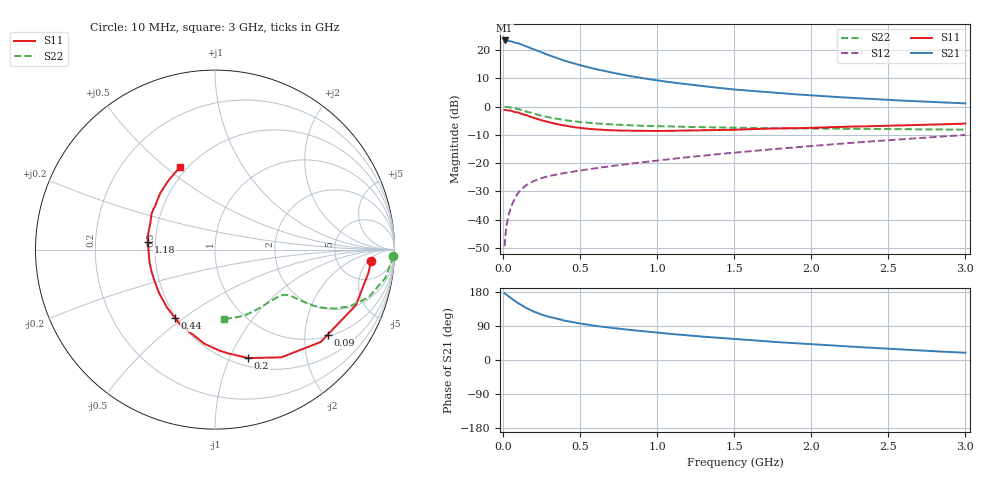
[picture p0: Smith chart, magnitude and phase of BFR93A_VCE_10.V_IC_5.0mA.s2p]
! Infineon Technologies  Discrete & RF Semiconductors
! BFR93A
! VCE =  10. V,  IC =  5.0 mA
! Common Emitter S-Parameters:  Nov 2015
# GHz  S  MA  R  50
!  f  S11  S21  S12  S22
! GHz  MAG  ANG  MAG  ANG  MAG  ANG  MAG  ANG
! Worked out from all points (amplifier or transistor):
!   180 points, 10 MHz to 3 GHz, reference 50 ohm
!   highest |S21| = 23.4 dB at 10 MHz (marker M1)
!   |S21| within 3 dB of that: start of sweep to 193.6 MHz
!   unconditionally stable (mu >= 1): 781.4 MHz to 2.512 GHz
!   at 160 MHz: K = 0.33, MSG = 24.3 dB, |S12| = -27.5 dB
!   at 1.22 GHz: K = 1.11, MAG = 10.8 dB, |S12| = -17.8 dB
!   at 3 GHz: K = 0.93, MSG = 5.6 dB, |S12| = -10.1 dB
!   S11 on the Smith chart (normalised r, x): 10 MHz: 11, -6; 90 MHz: 1.05, -2.61; 200 MHz: 0.58, -1.17; 440 MHz: 0.49, -0.46; 1.18 GHz: 0.45, +0.04; 3 GHz: 0.46, +0.56
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0.01  0.8718 -4.3  14.71 176.3  0.0034 86.6  0.9905 -2.0
0.025  0.8583 -10.7  14.53 171.4  0.0085 81.4  0.9812 -4.8
0.05  0.8439 -21.5  14.21 163.3  0.0163 79.0  0.9627 -9.4
0.09  0.7866 -37.1  13.24 152.4  0.0275 70.5  0.9093 -15.5
0.1  0.7821 -41.2  13.08 149.4  0.0303 69.4  0.8977 -17.1
0.15  0.7048 -58.4  11.62 137.2  0.0407 62.1  0.818 -22.6
0.2  0.6319 -73.0  10.26 127.6  0.0483 57.8  0.7468 -26.1
0.24  0.582 -83.0  9.273 121.4  0.0531 55.1  0.6989 -27.8
0.26  0.5622 -87.7  8.835 118.6  0.0553 54.2  0.6776 -28.5
0.3  0.528 -96.4  8.026 113.6  0.0592 53.0  0.6402 -29.5
0.4  0.4615 -114.7  6.441 103.7  0.0669 51.7  0.573 -30.5
0.44  0.4409 -120.3  6.001 101.0  0.0697 51.8  0.5561 -30.7
0.52  0.4126 -132.1  5.211 95.0  0.0754 52.2  0.525 -31.1
0.6  0.3947 -142.1  4.589 90.0  0.0811 52.9  0.5021 -31.3
0.7  0.3809 -152.0  4 84.8  0.0883 54.0  0.4831 -31.8
0.84  0.3723 -164.0  3.397 78.7  0.0984 55.6  0.464 -32.9
1.02  0.37 -176.8  2.845 71.4  0.1123 57.1  0.4479 -34.9
1.18  0.3764 173.8  2.502 65.7  0.1255 58.1  0.4367 -37.4
1.52  0.3898 157.4  1.98 54.7  0.1547 59.3  0.4211 -43.4
2.02  0.4223 139.7  1.56 41.0  0.2024 59.0  0.4079 -54.6
2.52  0.4589 125.6  1.302 29.4  0.2565 56.7  0.3992 -67.6
3  0.4986 113.0  1.136 19.1  0.314 53.0  0.391 -82.7
